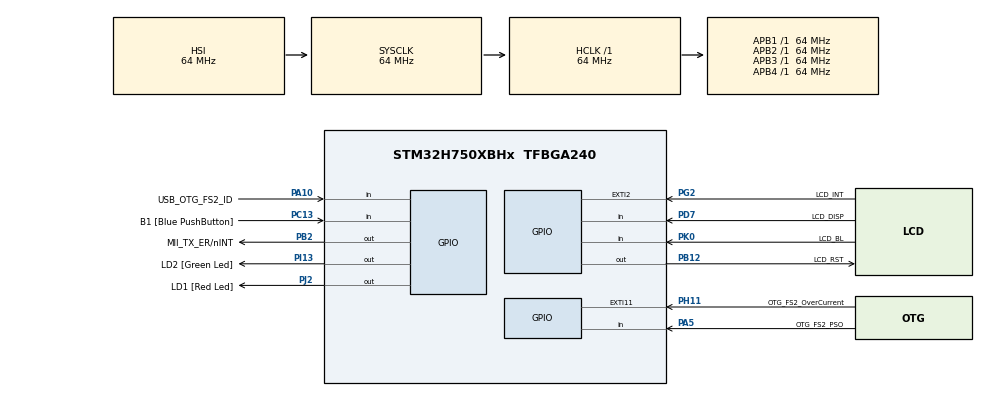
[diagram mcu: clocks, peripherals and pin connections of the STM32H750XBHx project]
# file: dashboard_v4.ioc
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CORTEX_M7.default_mode_Activation=1
FREERTOS.Tasks01=defaultTask,24,128,StartDefaultTask,Default,NULL,Dynamic,NULL,NULL
Mcu.Family=STM32H7
Mcu.Name=STM32H750XBHx
Mcu.Package=TFBGA240
NVIC.PriorityGroup=NVIC_PRIORITYGROUP_4
NVIC.TIM6_DAC_IRQn=true\:15\:0\:false\:false\:true\:false\:false\:true\:true
NVIC.TimeBase=TIM6_DAC_IRQn
NVIC.TimeBaseIP=TIM6
PA0_C.Signal=ADCx_INP0
PA1.GPIO_Label=MII_RX_CLK
PA1.Signal=ETH_RX_CLK
PA10.GPIO_Label=USB_OTG_FS2_ID
PA10.Signal=GPIO_Input
PA11.GPIO_Label=USB_OTG_FS2_N
PA11.Signal=USB_OTG_FS_DM
PA12.GPIO_Label=USB_OTG_FS2_P
PA12.Signal=USB_OTG_FS_DP
PA13\ (JTMS/SWDIO).Mode=JTAG_4_pins
PA13\ (JTMS/SWDIO).Signal=DEBUG_JTMS-SWDIO
PA14\ (JTCK/SWCLK).Mode=JTAG_4_pins
PA14\ (JTCK/SWCLK).Signal=DEBUG_JTCK-SWCLK
PA15\ (JTDI).Mode=JTAG_4_pins
PA15\ (JTDI).Signal=DEBUG_JTDI
PA1_C.Signal=ADCx_INP1
PA2.GPIO_Label=MII_MDIO
PA2.Signal=ETH_MDIO
PA5.GPIO_Label=OTG_FS2_PSO
PA5.Signal=GPIO_Input
PA6.Signal=S_TIM13_CH1
PA7.GPIO_Label=MII_RX_DV
PA7.Signal=ETH_RX_DV
PA8.Signal=S_TIM1_CH1
PA9.GPIO_Label=VBUS_FS2
PA9.Signal=USB_OTG_FS_VBUS
PB0.GPIO_Label=MII_RX_D2
PB0.Signal=ETH_RXD2
PB1.GPIO_Label=MII_RX_D3
PB1.Signal=ETH_RXD3
PB10.GPIO_Label=VCP_TX
PB10.Signal=USART3_TX
PB11.GPIO_Label=VCP_RX
PB11.Signal=USART3_RX
PB12.GPIO_Label=LCD_RST
PB12.Signal=GPIO_Output
PB13.GPIO_Label=FDCAN2_TX
PB13.Signal=FDCAN2_TX
PB15.Signal=SPI2_MOSI
PB2.GPIO_Label=MII_TX_ER/nINT
PB2.Signal=GPIO_Output
PB3\ (JTDO/TRACESWO).Mode=JTAG_4_pins
PB3\ (JTDO/TRACESWO).Signal=DEBUG_JTDO-SWO
PB4\ (NJTRST).Signal=SPI2_NSS
PB5.GPIO_Label=FDCAN2_RX
PB5.Signal=FDCAN2_RX
PB6.Signal=QUADSPI_BK1_NCS
PB8.GPIO_Label=SDIO1_D4
PB8.Signal=SDMMC1_D4
PB9.GPIO_Label=SDIO1_D5
PB9.Signal=SDMMC1_D5
PC0.Signal=ADCx_INP10
PC1.GPIO_Label=MII_MDC
PC1.Signal=ETH_MDC
PC10.GPIO_Label=SDIO1_D2
PC10.Signal=SDMMC1_D2
PC11.GPIO_Label=SDIO1_D3
PC11.Signal=SDMMC1_D3
PC12.GPIO_Label=SDIO1_CK
PC12.Signal=SDMMC1_CK
PC13.GPIO_Label=B1 [Blue PushButton]
PC13.Signal=GPIO_Input
PC14-OSC32_IN\ (OSC32_IN).GPIO_Label=OSC32_IN
PC14-OSC32_IN\ (OSC32_IN).Mode=LSE-External-Clock-Source
PC14-OSC32_IN\ (OSC32_IN).Signal=RCC_OSC32_IN
PC15-OSC32_OUT\ (OSC32_OUT).GPIO_Label=OSC32_OUT
PC15-OSC32_OUT\ (OSC32_OUT).Signal=RCC_OSC32_OUT
PC2.GPIO_Label=MII_TXD2
PC2.Signal=ETH_TXD2
PC2_C.Signal=SharedAnalog_PC2
PC3.GPIO_Label=MII_TX_CLK
PC3.Signal=ETH_TX_CLK
PC3_C.Signal=ADC3_INP1
PC4.GPIO_Label=MII_RXD0
PC4.Signal=ETH_RXD0
PC5.GPIO_Label=MII_RXD1
PC5.Signal=ETH_RXD1
PC6.GPIO_Label=SDIO1_D6
PC6.Signal=SDMMC1_D6
PC7.GPIO_Label=SDIO1_D7
PC7.Signal=SDMMC1_D7
PC8.GPIO_Label=SDIO1_D0
PC8.Signal=SDMMC1_D0
PC9.GPIO_Label=SDIO1_D1
PC9.Signal=SDMMC1_D1
PD0.Signal=FMC_D2_DA2
PD1.Signal=FMC_D3_DA3
PD10.Signal=FMC_D15_DA15
PD11.Signal=QUADSPI_BK1_IO0
PD14.Signal=FMC_D0_DA0
PD15.Signal=FMC_D1_DA1
PD2.GPIO_Label=SDIO1_CMD
PD2.Signal=SDMMC1_CMD
PD3.Signal=SPI2_SCK
PD7.GPIO_Label=LCD_DISP
PD7.Signal=GPIO_Input
PD8.Signal=FMC_D13_DA13
PD9.Signal=FMC_D14_DA14
PE0.Signal=FMC_NBL0
PE1.Signal=FMC_NBL1
PE10.Signal=FMC_D7_DA7
PE11.Signal=FMC_D8_DA8
PE12.Signal=FMC_D9_DA9
PE13.Signal=FMC_D10_DA10
PE14.Signal=FMC_D11_DA11
PE15.Signal=FMC_D12_DA12
PE2.GPIO_Label=MII_TXD3
PE2.Signal=ETH_TXD3
PE4.Signal=SAI4_D2
PE5.Signal=SAI4_CK2
PE7.Signal=FMC_D4_DA4
PE8.Signal=FMC_D5_DA5
PE9.Signal=FMC_D6_DA6
PF0.Signal=FMC_A0
PF1.Signal=FMC_A1
PF10.Signal=QUADSPI_CLK
PF11.Signal=FMC_SDNRAS
PF12.Signal=FMC_A6
PF13.Signal=FMC_A7
PF14.Signal=FMC_A8
PF15.Signal=FMC_A9
PF2.Signal=FMC_A2
PF3.Signal=FMC_A3
PF4.Signal=FMC_A4
PF5.Signal=FMC_A5
PF6.Signal=QUADSPI_BK1_IO3
PF7.Signal=QUADSPI_BK1_IO2
PF8.Signal=ADC3_INP7
PF9.Signal=QUADSPI_BK1_IO1
PG0.Signal=FMC_A10
PG1.Signal=FMC_A11
PG10.Signal=SAI2_SD_B
PG11.GPIO_Label=MII_TX_EN
PG11.Signal=ETH_TX_EN
PG12.GPIO_Label=MII_TXD1
PG12.Signal=ETH_TXD1
PG13.GPIO_Label=MII_TXD0
PG13.Signal=ETH_TXD0
PG15.Signal=FMC_SDNCAS
PG2.GPIO_Label=LCD_INT
PG2.Signal=GPXTI2
PG4.Signal=FMC_A14_BA0
PG5.Signal=FMC_A15_BA1
PG7.GPIO_Label=audio_Int
PG7.Signal=SAI1_MCLK_A
PG8.Signal=FMC_SDCLK
PH0-OSC_IN\ (PH0).GPIO_Label=OSC_IN
PH0-OSC_IN\ (PH0).Mode=HSE-External-Clock-Source
PH0-OSC_IN\ (PH0).Signal=RCC_OSC_IN
PH1-OSC_OUT\ (PH1).GPIO_Label=OSC_OUT
PH1-OSC_OUT\ (PH1).Signal=RCC_OSC_OUT
PH11.GPIO_Label=OTG_FS2_OverCurrent
PH11.Signal=GPXTI11
PH13.GPIO_Label=FDCAN1_TX
PH13.Signal=FDCAN1_TX
PH14.GPIO_Label=FDCAN1_RX
PH14.Signal=FDCAN1_RX
PH15.Signal=TIM8_CH3N
PH2.GPIO_Label=MII_CRS
PH2.Signal=ETH_CRS
PH3.GPIO_Label=MII_COL
PH3.Signal=ETH_COL
PH5.Signal=FMC_SDNWE
PH6.Signal=FMC_SDNE1
PH7.Signal=FMC_SDCKE1
PH9.Signal=LTDC_R3
PI0.Signal=LTDC_G5
PI1.Signal=LTDC_G6
PI10.GPIO_Label=MII_RX_ER
PI10.Signal=ETH_RX_ER
PI12.Signal=LTDC_HSYNC
PI13.GPIO_Label=LD2 [Green Led]
PI13.Signal=GPIO_Output
PI14.Signal=LTDC_CLK
PI15.Signal=LTDC_R0
PI2.Signal=SPI2_MISO
PI4.Signal=SAI2_MCLK_A
PI5.Signal=SAI2_SCK_A
PI6.Signal=SAI2_SD_A
PI7.Signal=SAI2_FS_A
PI9.Signal=LTDC_VSYNC
PJ0.Signal=LTDC_R1
PJ1.Signal=LTDC_R2
PJ10.Signal=LTDC_G3
PJ11.Signal=LTDC_G4
PJ12.Signal=LTDC_B0
PJ13.Signal=LTDC_B1
PJ14.Signal=LTDC_B2
PJ15.GPIO_Label=LCD_DISP
PJ15.Signal=LTDC_B3
PJ2.GPIO_Label=LD1 [Red Led]
PJ2.Signal=GPIO_Output
PJ3.Signal=LTDC_R4
PJ4.Signal=LTDC_R5
PJ5.Signal=LTDC_R6
PJ6.Signal=LTDC_R7
PJ7.Signal=LTDC_G0
PJ8.Signal=LTDC_G1
PJ9.Signal=LTDC_G2
PK0.GPIO_Label=LCD_BL
PK0.Signal=GPIO_Input
PK2.Signal=LTDC_G7
PK3.Signal=LTDC_B4
PK4.Signal=LTDC_B5
PK5.Signal=LTDC_B6
PK6.Signal=LTDC_B7
PK7.Signal=LTDC_DE
ProjectManager.HeapSize=0x200
ProjectManager.StackSize=0x400
ProjectManager.TargetToolchain=CMake
RCC.ADCFreq_Value=30000000
RCC.APB1Freq_Value=64000000
RCC.APB2Freq_Value=64000000
RCC.APB3Freq_Value=64000000
RCC.APB4Freq_Value=64000000
RCC.CortexFreq_Value=64000000
RCC.DIVM1=22
RCC.DIVM2=2
RCC.DIVN1=169
RCC.DIVN2=12
RCC.DIVN3=192
RCC.DIVP2=5
RCC.DIVQ1=4
RCC.HCLKFreq_Value=64000000
RCC.PLL2FRACN=0
RCC.PLL3FRACN=0
RCC.PLLFRACN=0
RCC.PLLSourceVirtual=RCC_PLLSOURCE_HSE
RCC.PWR_Regulator_Voltage_Scale=PWR_REGULATOR_VOLTAGE_SCALE2
RCC.SYSCLKFreq_VALUE=64000000
RCC.USBFreq_Value=48011363.63636364
SH.ADCx_INP0.0=ADC1_INP0
SH.ADCx_INP0.1=ADC2_INP0
SH.ADCx_INP1.0=ADC1_INP1
SH.ADCx_INP1.1=ADC2_INP1
SH.ADCx_INP10.0=ADC1_INP10
SH.ADCx_INP10.1=ADC3_INP10
SH.FMC_A0.0=FMC_A0
SH.FMC_A1.0=FMC_A1
SH.FMC_A10.0=FMC_A10
SH.FMC_A11.0=FMC_A11
SH.FMC_A14_BA0.0=FMC_BA0
SH.FMC_A15_BA1.0=FMC_BA1
SH.FMC_A2.0=FMC_A2
SH.FMC_A3.0=FMC_A3
SH.FMC_A4.0=FMC_A4
SH.FMC_A5.0=FMC_A5
SH.FMC_A6.0=FMC_A6
SH.FMC_A7.0=FMC_A7
SH.FMC_A8.0=FMC_A8
SH.FMC_A9.0=FMC_A9
SH.FMC_D0_DA0.0=FMC_D0
SH.FMC_D10_DA10.0=FMC_D10
SH.FMC_D11_DA11.0=FMC_D11
SH.FMC_D12_DA12.0=FMC_D12
SH.FMC_D13_DA13.0=FMC_D13
SH.FMC_D14_DA14.0=FMC_D14
SH.FMC_D15_DA15.0=FMC_D15
SH.FMC_D1_DA1.0=FMC_D1
SH.FMC_D2_DA2.0=FMC_D2
SH.FMC_D3_DA3.0=FMC_D3
SH.FMC_D4_DA4.0=FMC_D4
SH.FMC_D5_DA5.0=FMC_D5
SH.FMC_D6_DA6.0=FMC_D6
SH.FMC_D7_DA7.0=FMC_D7
SH.FMC_D8_DA8.0=FMC_D8
SH.FMC_D9_DA9.0=FMC_D9
SH.FMC_NBL0.0=FMC_NBL0
SH.FMC_NBL1.0=FMC_NBL1
SH.FMC_SDCLK.0=FMC_SDCLK
SH.FMC_SDNCAS.0=FMC_SDNCAS
SH.FMC_SDNRAS.0=FMC_SDNRAS
SH.FMC_SDNWE.0=FMC_SDNWE
SH.S_TIM13_CH1.0=TIM13_CH1
SH.S_TIM1_CH1.0=TIM1_CH1
SH.SharedAnalog_PC2.0=ADC3_INP0
SH.SharedAnalog_PC2.1=ADC3_INN1
VP_FREERTOS_VS_CMSIS_V2.Mode=CMSIS_V2
VP_MEMORYMAP_VS_MEMORYMAP.Mode=CurAppReg
VP_SYS_VS_tim6.Mode=TIM6
board=STM32H750B-DK

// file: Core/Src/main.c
/* USER CODE BEGIN Header */
/**
  ******************************************************************************
  * @file           : main.c
  * @brief          : Main program body
  ******************************************************************************
  * @attention
  *
  * Copyright (c) 2026 STMicroelectronics.
  * All rights reserved.
  *
  * This software is licensed under terms that can be found in the LICENSE file
  * in the root directory of this software component.
  * If no LICENSE file comes with this software, it is provided AS-IS.
  *
  ******************************************************************************
  */
/* USER CODE END Header */
#include "main.h"
#include "FreeRTOS.h"
#include "cmsis_os2.h"
#include "gpio.h"

/* USER CODE BEGIN Includes */
#include "usart.h"
#include "fdcan.h"
#include "obd2.h"
/* USER CODE END Includes */

void SystemClock_Config(void);
static void MPU_Config(void);
void MX_FREERTOS_Init(void);
/* USER CODE BEGIN PFP */

extern void xPortSysTickHandler(void);

/* USER CODE END PFP */

int main(void)
{

  /* MPU Configuration--------------------------------------------------------*/
  MPU_Config();

  /* MCU Configuration--------------------------------------------------------*/

  /* Reset of all peripherals, Initializes the Flash interface and the Systick. */
  HAL_Init();

  /* USER CODE BEGIN Init */
  HAL_NVIC_SetPriorityGrouping(NVIC_PRIORITYGROUP_4);
  /* USER CODE END Init */

  /* Configure the system clock */
  SystemClock_Config();

  /* Initialize all configured peripherals */
  //MX_GPIO_Init();
  /* USER CODE BEGIN 2 */
  if(USART3_Init() != HAL_OK) { Error_Handler(); }
  printf("USART3 init successful\n");

  if(FDCAN1_Init() != HAL_OK) { Error_Handler(); }
  printf("FDCAN1 init successful\n");

  if(OBD2_Init() != HAL_OK) { Error_Handler(); }
  printf("OBD2 init successful\n");
  /* USER CODE END 2 */

  /* Init scheduler */
  osKernelInitialize();  /* Call init function for freertos objects (in cmsis_os2.c) */
  MX_FREERTOS_Init();

  /* Start scheduler */
  osKernelStart();

  /* We should never get here as control is now taken by the scheduler */

  /* Infinite loop */
  while (1)
  {

  }
}

void SystemClock_Config(void)
{
  RCC_OscInitTypeDef RCC_OscInitStruct = {0};
  RCC_ClkInitTypeDef RCC_ClkInitStruct = {0};

  /** Supply configuration update enable
  */
  HAL_PWREx_ConfigSupply(PWR_LDO_SUPPLY);

  /** Configure the main internal regulator output voltage
  */
  __HAL_PWR_VOLTAGESCALING_CONFIG(PWR_REGULATOR_VOLTAGE_SCALE2);

  while(!__HAL_PWR_GET_FLAG(PWR_FLAG_VOSRDY)) {}

  /** Initializes the RCC Oscillators according to the specified parameters
  * in the RCC_OscInitTypeDef structure.
  */
  RCC_OscInitStruct.OscillatorType = RCC_OSCILLATORTYPE_HSI;
  RCC_OscInitStruct.HSIState = RCC_HSI_DIV1;
  RCC_OscInitStruct.HSICalibrationValue = RCC_HSICALIBRATION_DEFAULT;
  RCC_OscInitStruct.PLL.PLLState = RCC_PLL_NONE;
  if (HAL_RCC_OscConfig(&RCC_OscInitStruct) != HAL_OK)
  {
    Error_Handler();
  }

  /** Initializes the CPU, AHB and APB buses clocks
  */
  RCC_ClkInitStruct.ClockType = RCC_CLOCKTYPE_HCLK|RCC_CLOCKTYPE_SYSCLK
                              |RCC_CLOCKTYPE_PCLK1|RCC_CLOCKTYPE_PCLK2
                              |RCC_CLOCKTYPE_D3PCLK1|RCC_CLOCKTYPE_D1PCLK1;
  RCC_ClkInitStruct.SYSCLKSource = RCC_SYSCLKSOURCE_HSI;
  RCC_ClkInitStruct.SYSCLKDivider = RCC_SYSCLK_DIV1;
  RCC_ClkInitStruct.AHBCLKDivider = RCC_HCLK_DIV1;
  RCC_ClkInitStruct.APB3CLKDivider = RCC_APB3_DIV1;
  RCC_ClkInitStruct.APB1CLKDivider = RCC_APB1_DIV1;
  RCC_ClkInitStruct.APB2CLKDivider = RCC_APB2_DIV1;
  RCC_ClkInitStruct.APB4CLKDivider = RCC_APB4_DIV1;

  if (HAL_RCC_ClockConfig(&RCC_ClkInitStruct, FLASH_LATENCY_1) != HAL_OK)
  {
    Error_Handler();
  }
}

 /* MPU Configuration */

void MPU_Config(void)
{
  MPU_Region_InitTypeDef MPU_InitStruct = {0};

  /* Disables the MPU */
  HAL_MPU_Disable();

  /** Initializes and configures the Region and the memory to be protected
  */
  MPU_InitStruct.Enable = MPU_REGION_ENABLE;
  MPU_InitStruct.Number = MPU_REGION_NUMBER0;
  MPU_InitStruct.BaseAddress = 0x0;
  MPU_InitStruct.Size = MPU_REGION_SIZE_4GB;
  MPU_InitStruct.SubRegionDisable = 0x87;
  MPU_InitStruct.TypeExtField = MPU_TEX_LEVEL0;
  MPU_InitStruct.AccessPermission = MPU_REGION_NO_ACCESS;
  MPU_InitStruct.DisableExec = MPU_INSTRUCTION_ACCESS_DISABLE;
  MPU_InitStruct.IsShareable = MPU_ACCESS_SHAREABLE;
  MPU_InitStruct.IsCacheable = MPU_ACCESS_NOT_CACHEABLE;
  MPU_InitStruct.IsBufferable = MPU_ACCESS_NOT_BUFFERABLE;

  HAL_MPU_ConfigRegion(&MPU_InitStruct);
  /* Enables the MPU */
  HAL_MPU_Enable(MPU_PRIVILEGED_DEFAULT);

}

void HAL_TIM_PeriodElapsedCallback(TIM_HandleTypeDef *htim)
{
  if (htim->Instance == TIM6)
  {
    HAL_IncTick();
  }
  /* USER CODE BEGIN Callback 1 */
  if (xTaskGetSchedulerState() != taskSCHEDULER_NOT_STARTED)
  {
    xPortSysTickHandler();
  }
  /* USER CODE END Callback 1 */
}

void Error_Handler(void)
{
  __disable_irq();
  while (1)
  {
  }
}

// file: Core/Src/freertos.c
/* USER CODE BEGIN Header */
/**
  ******************************************************************************
  * File Name          : freertos.c
  * Description        : Code for freertos applications
  ******************************************************************************
  * @attention
  *
  * Copyright (c) 2026 STMicroelectronics.
  * All rights reserved.
  *
  * This software is licensed under terms that can be found in the LICENSE file
  * in the root directory of this software component.
  * If no LICENSE file comes with this software, it is provided AS-IS.
  *
  ******************************************************************************
  */
/* USER CODE END Header */

#include "FreeRTOS.h"
#include "task.h"
#include "main.h"
#include "FreeRTOS.h"
#include "cmsis_os2.h"

/* USER CODE BEGIN Includes */
#include "obd2.h"
/* USER CODE END Includes */

/* USER CODE BEGIN Variables */

osThreadId_t testTaskHandle;
const osThreadAttr_t testTask_attributes = {
  .name = "testTask",
  .stack_size = 1024 * 4,
  .priority = (osPriority_t) osPriorityNormal,
};

/* USER CODE END Variables */
/* Definitions for defaultTask */
osThreadId_t defaultTaskHandle;
const osThreadAttr_t defaultTask_attributes = {
  .name = "defaultTask",
  .stack_size = 128 * 4,
  .priority = (osPriority_t) osPriorityNormal,
};

/* USER CODE BEGIN FunctionPrototypes */
void OBD2_TestTask(void *argument);
void USART_TestTask(void *argument);
/* USER CODE END FunctionPrototypes */

void StartDefaultTask(void *argument);

void MX_FREERTOS_Init(void); /* (MISRA C 2004 rule 8.1) */

void MX_FREERTOS_Init(void) {

  /* Create the thread(s) */
  /* creation of defaultTask */
  defaultTaskHandle = osThreadNew(StartDefaultTask, NULL, &defaultTask_attributes);

  /* USER CODE BEGIN RTOS_THREADS */
  //OBD2_TestTaskHandle = osThreadNew(OBD2_TestTask, NULL, &testTask_attributes);

  testTaskHandle = osThreadNew(OBD2_TestTask, NULL, &testTask_attributes);
  /* USER CODE END RTOS_THREADS */

}

void StartDefaultTask(void *argument)
{
  for(;;)
  {
    osDelay(1);
  }
}

/* USER CODE BEGIN Application */

// Source - https://stackoverflow.com/a/3208376
// Posted by William Whyte, modified by community. See post 'Timeline' for change history
// Retrieved 2026-08-30, License - CC BY-SA 4.0

#define BYTE_TO_BINARY_PATTERN "%c%c%c%c%c%c%c%c"
#define BYTE_TO_BINARY(byte)  \
((byte) & 0x80 ? '1' : '0'), \
((byte) & 0x40 ? '1' : '0'), \
((byte) & 0x20 ? '1' : '0'), \
((byte) & 0x10 ? '1' : '0'), \
((byte) & 0x08 ? '1' : '0'), \
((byte) & 0x04 ? '1' : '0'), \
((byte) & 0x02 ? '1' : '0'), \
((byte) & 0x01 ? '1' : '0')

void OBD2_TestTask(void *argument)
{
  while(1)
  {
    printf("OBD2_TestTask cycle...\n");
    uint16_t OBD2_update_bits = OBD2_Poll_ECU_Data();
    if(OBD2_update_bits != 0)
    {
      printf("OBD2 update bits: "BYTE_TO_BINARY_PATTERN""BYTE_TO_BINARY_PATTERN"\n", BYTE_TO_BINARY(OBD2_update_bits));
    }

    printf("Gear: %d\n", (int) pECU_Data->actual_gear);
    printf("Speed: %d km/h\n", (int) pECU_Data->speed);
    printf("Fuel level: %d %%\n", (int) pECU_Data->fuel_level);
    printf("Coolant temp: %d °C\n", (int) pECU_Data->coolant_temperature);
    printf("Engine rpm: %d rpm\n", (int) pECU_Data->engine_rpm);
    printf("Boost pressure: %f kPa\n", pECU_Data->boost_pressure);
    printf("Fuel rate: %f L/h\n", pECU_Data->fuel_rate);

    osDelay(250);
  }
}

void USART_TestTask(void *argument)
{
  __HAL_RCC_GPIOD_CLK_ENABLE();

  GPIO_InitTypeDef init = {0};
  init.Pin = GPIO_PIN_3;
  init.Mode = GPIO_MODE_OUTPUT_PP;
  init.Pull = GPIO_NOPULL;
  init.Speed = GPIO_SPEED_FREQ_LOW;
  HAL_GPIO_Init(GPIOD, &init);

  HAL_GPIO_WritePin(GPIOD, GPIO_PIN_3, GPIO_PIN_RESET);
  while(1)
  {
    printf("Hello world\n");
    HAL_GPIO_TogglePin(GPIOD, GPIO_PIN_3);
    osDelay(500);
  }
}

/* USER CODE END Application */
